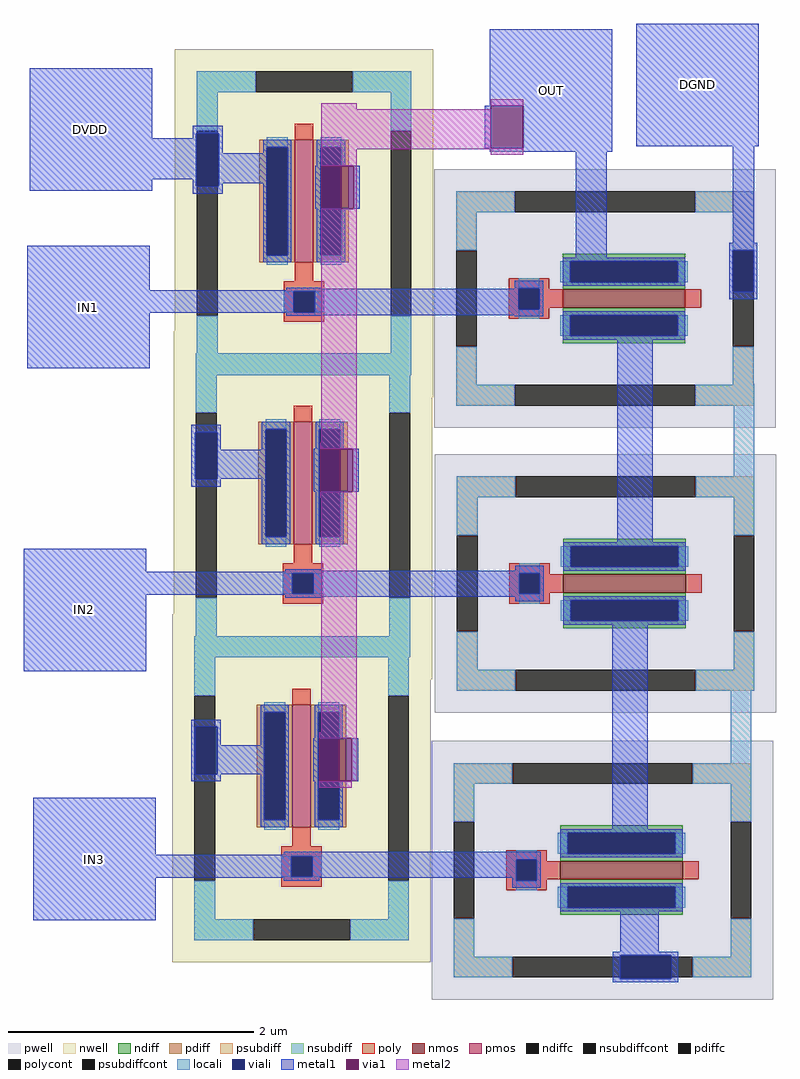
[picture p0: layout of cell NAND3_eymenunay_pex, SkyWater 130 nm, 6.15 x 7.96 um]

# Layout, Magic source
magic
tech sky130B
magscale 1 2
<< nwell >>
rect 1056 956 1478 1416
rect 1054 848 1478 956
rect 1054 494 1476 848
rect 1052 388 1476 494
rect 1052 -74 1474 388
<< pwell >>
rect 1479 798 2037 1220
rect 1480 333 2038 755
rect 1475 -135 2033 287
<< nmos >>
rect 1689 994 1889 1024
rect 1690 529 1890 559
rect 1685 61 1885 91
<< pmos >>
rect 1252 1068 1282 1268
rect 1250 608 1280 808
rect 1248 146 1278 346
<< ndiff >>
rect 1689 1070 1889 1082
rect 1689 1036 1701 1070
rect 1877 1036 1889 1070
rect 1689 1024 1889 1036
rect 1689 982 1889 994
rect 1689 948 1701 982
rect 1877 948 1889 982
rect 1689 936 1889 948
rect 1690 605 1890 617
rect 1690 571 1702 605
rect 1878 571 1890 605
rect 1690 559 1890 571
rect 1690 517 1890 529
rect 1690 483 1702 517
rect 1878 483 1890 517
rect 1690 471 1890 483
rect 1685 137 1885 149
rect 1685 103 1697 137
rect 1873 103 1885 137
rect 1685 91 1885 103
rect 1685 49 1885 61
rect 1685 15 1697 49
rect 1873 15 1885 49
rect 1685 3 1885 15
<< pdiff >>
rect 1194 1256 1252 1268
rect 1194 1080 1206 1256
rect 1240 1080 1252 1256
rect 1194 1068 1252 1080
rect 1282 1256 1340 1268
rect 1282 1080 1294 1256
rect 1328 1080 1340 1256
rect 1282 1068 1340 1080
rect 1192 796 1250 808
rect 1192 620 1204 796
rect 1238 620 1250 796
rect 1192 608 1250 620
rect 1280 796 1338 808
rect 1280 620 1292 796
rect 1326 620 1338 796
rect 1280 608 1338 620
rect 1190 334 1248 346
rect 1190 158 1202 334
rect 1236 158 1248 334
rect 1190 146 1248 158
rect 1278 334 1336 346
rect 1278 158 1290 334
rect 1324 158 1336 334
rect 1278 146 1336 158
<< ndiffc >>
rect 1701 1036 1877 1070
rect 1701 948 1877 982
rect 1702 571 1878 605
rect 1702 483 1878 517
rect 1697 103 1873 137
rect 1697 15 1873 49
<< pdiffc >>
rect 1206 1080 1240 1256
rect 1294 1080 1328 1256
rect 1204 620 1238 796
rect 1292 620 1326 796
rect 1202 158 1236 334
rect 1290 158 1324 334
<< psubdiff >>
rect 1515 1150 1611 1184
rect 1905 1150 2001 1184
rect 1515 1088 1549 1150
rect 1967 1088 2001 1150
rect 1515 868 1549 930
rect 1967 868 2001 930
rect 1515 834 1611 868
rect 1905 834 2001 868
rect 1516 685 1612 719
rect 1906 685 2002 719
rect 1516 623 1550 685
rect 1968 623 2002 685
rect 1516 403 1550 465
rect 1968 403 2002 465
rect 1516 369 1612 403
rect 1906 369 2002 403
rect 1511 217 1607 251
rect 1901 217 1997 251
rect 1511 155 1545 217
rect 1963 155 1997 217
rect 1511 -65 1545 -3
rect 1963 -65 1997 -3
rect 1511 -99 1607 -65
rect 1901 -99 1997 -65
<< nsubdiff >>
rect 1092 1346 1188 1380
rect 1346 1346 1442 1380
rect 1092 1283 1126 1346
rect 1408 1283 1442 1346
rect 1092 920 1126 981
rect 1408 920 1442 981
rect 1090 884 1442 920
rect 1090 823 1124 884
rect 1406 823 1440 884
rect 1090 458 1124 521
rect 1406 458 1440 521
rect 1088 424 1440 458
rect 1088 361 1122 424
rect 1404 361 1438 424
rect 1088 -4 1122 59
rect 1404 -4 1438 59
rect 1088 -38 1184 -4
rect 1342 -38 1438 -4
<< psubdiffcont >>
rect 1611 1150 1905 1184
rect 1515 930 1549 1088
rect 1967 930 2001 1088
rect 1611 834 1905 868
rect 1612 685 1906 719
rect 1516 465 1550 623
rect 1968 465 2002 623
rect 1612 369 1906 403
rect 1607 217 1901 251
rect 1511 -3 1545 155
rect 1963 -3 1997 155
rect 1607 -99 1901 -65
<< nsubdiffcont >>
rect 1188 1346 1346 1380
rect 1092 981 1126 1283
rect 1408 981 1442 1283
rect 1090 521 1124 823
rect 1406 521 1440 823
rect 1088 59 1122 361
rect 1404 59 1438 361
rect 1184 -38 1342 -4
<< poly >>
rect 1252 1268 1282 1294
rect 1252 1037 1282 1068
rect 1234 1021 1300 1037
rect 1234 987 1250 1021
rect 1284 987 1300 1021
rect 1234 971 1300 987
rect 1601 1026 1667 1042
rect 1601 992 1617 1026
rect 1651 1024 1667 1026
rect 1651 994 1689 1024
rect 1889 994 1915 1024
rect 1651 992 1667 994
rect 1601 976 1667 992
rect 1250 808 1280 834
rect 1250 577 1280 608
rect 1232 561 1298 577
rect 1232 527 1248 561
rect 1282 527 1298 561
rect 1232 511 1298 527
rect 1602 561 1668 577
rect 1602 527 1618 561
rect 1652 559 1668 561
rect 1652 529 1690 559
rect 1890 529 1916 559
rect 1652 527 1668 529
rect 1602 511 1668 527
rect 1248 346 1278 372
rect 1248 115 1278 146
rect 1230 99 1296 115
rect 1230 65 1246 99
rect 1280 65 1296 99
rect 1230 49 1296 65
rect 1597 93 1663 109
rect 1597 59 1613 93
rect 1647 91 1663 93
rect 1647 61 1685 91
rect 1885 61 1911 91
rect 1647 59 1663 61
rect 1597 43 1663 59
<< polycont >>
rect 1250 987 1284 1021
rect 1617 992 1651 1026
rect 1248 527 1282 561
rect 1618 527 1652 561
rect 1246 65 1280 99
rect 1613 59 1647 93
<< locali >>
rect 1092 1346 1188 1380
rect 1346 1346 1442 1380
rect 1092 1283 1126 1346
rect 1408 1283 1442 1346
rect 1206 1256 1240 1272
rect 1206 1064 1240 1080
rect 1294 1256 1328 1272
rect 1294 1064 1328 1080
rect 1234 987 1250 1021
rect 1284 987 1300 1021
rect 1092 920 1126 981
rect 1408 920 1442 981
rect 1090 884 1442 920
rect 1515 1150 1611 1184
rect 1905 1150 2001 1184
rect 1515 1088 1549 1150
rect 1967 1088 2001 1150
rect 1617 1026 1651 1042
rect 1685 1036 1701 1070
rect 1877 1036 1893 1070
rect 1617 976 1651 992
rect 1685 948 1701 982
rect 1877 948 1893 982
rect 1090 823 1124 884
rect 1406 823 1440 884
rect 1515 868 1549 930
rect 1967 870 2001 930
rect 1967 868 2002 870
rect 1515 834 1611 868
rect 1905 834 2002 868
rect 1204 796 1238 812
rect 1204 604 1238 620
rect 1292 796 1326 812
rect 1292 604 1326 620
rect 1232 527 1248 561
rect 1282 527 1298 561
rect 1090 458 1124 521
rect 1968 719 2002 834
rect 1406 458 1440 521
rect 1088 424 1440 458
rect 1516 685 1612 719
rect 1906 685 2002 719
rect 1516 623 1550 685
rect 1968 623 2002 685
rect 1618 561 1652 577
rect 1686 571 1702 605
rect 1878 571 1894 605
rect 1618 511 1652 527
rect 1686 483 1702 517
rect 1878 483 1894 517
rect 1088 361 1122 424
rect 1404 361 1438 424
rect 1516 403 1550 465
rect 1968 403 2002 465
rect 1516 369 1612 403
rect 1906 369 2002 403
rect 1202 334 1236 350
rect 1202 142 1236 158
rect 1290 334 1324 350
rect 1290 142 1324 158
rect 1230 65 1246 99
rect 1280 65 1296 99
rect 1088 -4 1122 59
rect 1963 251 1997 369
rect 1404 -4 1438 59
rect 1088 -38 1184 -4
rect 1342 -38 1438 -4
rect 1511 217 1607 251
rect 1901 217 1997 251
rect 1511 155 1545 217
rect 1963 155 1997 217
rect 1613 93 1647 109
rect 1681 103 1697 137
rect 1873 103 1889 137
rect 1613 43 1647 59
rect 1681 15 1697 49
rect 1873 15 1889 49
rect 1511 -65 1545 -3
rect 1963 -65 1997 -3
rect 1511 -99 1607 -65
rect 1901 -99 1997 -65
<< viali >>
rect 1091 1192 1092 1279
rect 1092 1192 1126 1279
rect 1126 1192 1128 1279
rect 1206 1080 1240 1256
rect 1294 1080 1328 1256
rect 1250 987 1284 1021
rect 1701 1036 1877 1070
rect 1617 992 1651 1026
rect 1967 1020 2001 1088
rect 1701 948 1877 982
rect 1089 714 1090 791
rect 1090 714 1124 791
rect 1124 714 1125 791
rect 1204 620 1238 796
rect 1292 620 1326 796
rect 1248 527 1282 561
rect 1702 571 1878 605
rect 1618 527 1652 561
rect 1702 483 1878 517
rect 1089 233 1122 310
rect 1122 233 1125 310
rect 1202 158 1236 334
rect 1290 158 1324 334
rect 1246 65 1280 99
rect 1697 103 1873 137
rect 1613 59 1647 93
rect 1697 15 1873 49
rect 1783 -65 1866 -63
rect 1783 -99 1866 -65
rect 1783 -101 1866 -99
<< metal1 >>
rect 819 1271 1019 1385
rect 1570 1324 1770 1449
rect 1085 1279 1134 1291
rect 1085 1271 1091 1279
rect 819 1204 1091 1271
rect 819 1185 1019 1204
rect 1085 1192 1091 1204
rect 1128 1246 1134 1279
rect 1200 1256 1246 1268
rect 1200 1246 1206 1256
rect 1128 1197 1206 1246
rect 1128 1192 1134 1197
rect 1085 1180 1134 1192
rect 815 1023 1015 1095
rect 1200 1080 1206 1197
rect 1240 1080 1246 1256
rect 1288 1256 1334 1268
rect 1288 1226 1294 1256
rect 1328 1226 1334 1256
rect 1562 1254 1572 1324
rect 1625 1254 1770 1324
rect 1809 1258 2009 1458
rect 1570 1249 1770 1254
rect 1285 1156 1294 1226
rect 1348 1156 1358 1226
rect 1200 1068 1246 1080
rect 1288 1080 1294 1156
rect 1328 1080 1334 1156
rect 1288 1068 1334 1080
rect 1710 1076 1761 1249
rect 1967 1100 2002 1258
rect 1961 1088 2007 1100
rect 1689 1070 1889 1076
rect 1238 1025 1296 1027
rect 1611 1026 1657 1038
rect 1689 1036 1701 1070
rect 1877 1036 1889 1070
rect 1689 1030 1889 1036
rect 1611 1025 1617 1026
rect 1238 1023 1617 1025
rect 815 1021 1617 1023
rect 815 987 1250 1021
rect 1284 992 1617 1021
rect 1651 992 1657 1026
rect 1961 1020 1967 1088
rect 2001 1020 2007 1088
rect 1961 1008 2007 1020
rect 1284 987 1657 992
rect 815 986 1657 987
rect 815 895 1015 986
rect 1238 982 1657 986
rect 1238 981 1296 982
rect 1611 980 1657 982
rect 1689 982 1889 988
rect 1689 948 1701 982
rect 1877 948 1889 982
rect 1689 942 1889 948
rect 1083 791 1131 803
rect 1083 714 1089 791
rect 1125 762 1131 791
rect 1198 796 1244 808
rect 1198 762 1204 796
rect 1125 715 1204 762
rect 1125 714 1131 715
rect 1083 702 1131 714
rect 1198 620 1204 715
rect 1238 620 1244 796
rect 1286 796 1332 808
rect 1286 764 1292 796
rect 1326 764 1332 796
rect 1283 694 1292 764
rect 1346 694 1356 764
rect 1198 608 1244 620
rect 1286 620 1292 694
rect 1326 620 1332 694
rect 1286 608 1332 620
rect 1778 611 1836 942
rect 1690 605 1890 611
rect 809 563 1009 601
rect 1236 565 1294 567
rect 1612 565 1658 573
rect 1690 571 1702 605
rect 1878 571 1890 605
rect 1690 565 1890 571
rect 1236 563 1658 565
rect 809 561 1658 563
rect 809 527 1248 561
rect 1282 527 1618 561
rect 1652 527 1658 561
rect 809 526 1658 527
rect 809 401 1009 526
rect 1236 522 1658 526
rect 1236 521 1294 522
rect 1612 515 1658 522
rect 1690 517 1890 523
rect 1690 483 1702 517
rect 1878 483 1890 517
rect 1690 477 1890 483
rect 1196 334 1242 346
rect 1083 310 1131 322
rect 1083 233 1089 310
rect 1125 280 1131 310
rect 1196 280 1202 334
rect 1125 233 1202 280
rect 1083 221 1131 233
rect 825 101 1025 194
rect 1196 158 1202 233
rect 1236 158 1242 334
rect 1284 334 1330 346
rect 1284 291 1290 334
rect 1324 291 1330 334
rect 1282 221 1290 291
rect 1345 221 1355 291
rect 1196 146 1242 158
rect 1284 158 1290 221
rect 1324 158 1330 221
rect 1284 146 1330 158
rect 1770 143 1828 477
rect 1685 137 1885 143
rect 1235 105 1653 106
rect 1234 101 1653 105
rect 825 99 1653 101
rect 825 65 1246 99
rect 1280 93 1653 99
rect 1685 103 1697 137
rect 1873 103 1885 137
rect 1685 97 1885 103
rect 1280 65 1613 93
rect 825 64 1613 65
rect 825 -6 1025 64
rect 1234 59 1292 64
rect 1607 59 1613 64
rect 1647 59 1653 93
rect 1607 47 1653 59
rect 1685 49 1885 55
rect 1685 15 1697 49
rect 1873 15 1885 49
rect 1685 9 1885 15
rect 1783 -57 1846 9
rect 1771 -63 1878 -57
rect 1771 -101 1783 -63
rect 1866 -101 1878 -63
rect 1771 -107 1878 -101
<< via1 >>
rect 1572 1254 1625 1324
rect 1295 1156 1328 1226
rect 1328 1156 1348 1226
rect 1293 694 1326 764
rect 1326 694 1346 764
rect 1292 221 1324 291
rect 1324 221 1345 291
<< metal2 >>
rect 1295 1318 1353 1328
rect 1572 1324 1625 1334
rect 1295 1254 1572 1318
rect 1295 1253 1625 1254
rect 1295 1226 1353 1253
rect 1572 1244 1625 1253
rect 1348 1156 1353 1226
rect 1295 774 1353 1156
rect 1293 764 1353 774
rect 1346 694 1353 764
rect 1293 684 1353 694
rect 1295 301 1353 684
rect 1292 291 1353 301
rect 1345 222 1353 291
rect 1292 211 1345 221
<< labels >>
flabel metal1 809 401 1009 601 0 FreeSans 256 0 0 0 IN2
port 1 nsew
flabel metal1 819 1185 1019 1385 0 FreeSans 256 0 0 0 DVDD
port 3 nsew
flabel metal1 1809 1258 2009 1458 0 FreeSans 256 0 0 0 DGND
port 4 nsew
flabel metal1 1570 1249 1770 1449 0 FreeSans 256 0 0 0 OUT
port 2 nsew
flabel metal1 825 -6 1025 194 0 FreeSans 256 0 0 0 IN3
port 5 nsew
flabel metal1 815 895 1015 1095 0 FreeSans 256 0 0 0 IN1
port 0 nsew
<< end >>
